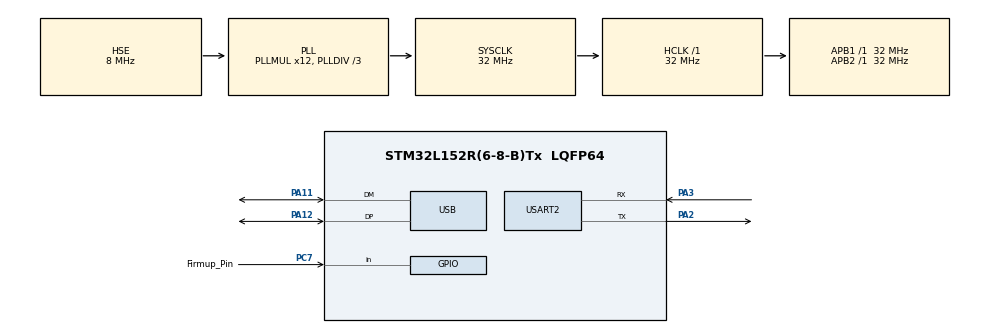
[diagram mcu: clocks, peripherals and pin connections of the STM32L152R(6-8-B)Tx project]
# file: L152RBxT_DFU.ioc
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Mcu.Family=STM32L1
Mcu.Name=STM32L152R(6-8-B)Tx
Mcu.Package=LQFP64
NVIC.PriorityGroup=NVIC_PRIORITYGROUP_4
NVIC.USART2_IRQn=true\:0\:0\:false\:false\:true\:true\:true
NVIC.USB_LP_IRQn=true\:0\:0\:false\:false\:true\:true\:true
PA11.Mode=Device
PA11.Signal=USB_DM
PA12.Mode=Device
PA12.Signal=USB_DP
PA13.Mode=Serial_Wire
PA13.Signal=SYS_JTMS-SWDIO
PA14.Mode=Serial_Wire
PA14.Signal=SYS_JTCK-SWCLK
PA2.Mode=Asynchronous
PA2.Signal=USART2_TX
PA3.Mode=Asynchronous
PA3.Signal=USART2_RX
PC7.GPIO_Label=Firmup_Pin
PC7.Signal=GPIO_Input
PH0-OSC_IN.Mode=HSE-External-Oscillator
PH0-OSC_IN.Signal=RCC_OSC_IN
PH1-OSC_OUT.Mode=HSE-External-Oscillator
PH1-OSC_OUT.Signal=RCC_OSC_OUT
ProjectManager.HeapSize=0x200
ProjectManager.StackSize=0x400
ProjectManager.TargetToolchain=STM32CubeIDE
RCC.48MHZClocksFreq_Value=48000000
RCC.AHBFreq_Value=32000000
RCC.APB1Freq_Value=32000000
RCC.APB1TimFreq_Value=32000000
RCC.APB2Freq_Value=32000000
RCC.APB2TimFreq_Value=32000000
RCC.HCLKFreq_Value=32000000
RCC.HSE_VALUE=8000000
RCC.HSI_VALUE=16000000
RCC.LSE_VALUE=32768
RCC.MSI_VALUE=2097000
RCC.PLLDIV=RCC_PLL_DIV3
RCC.PLLMUL=RCC_PLL_MUL12
RCC.SYSCLKFreq_VALUE=32000000
RCC.SYSCLKSource=RCC_SYSCLKSOURCE_PLLCLK
RCC.VCOOutputFreq_Value=96000000
USART2.VirtualMode=VM_ASYNC
USB_DEVICE.CLASS_NAME_FS=DFU
USB_DEVICE.USBD_DFU_APP_DEFAULT_ADD=0x08009000
USB_DEVICE.USBD_DFU_MEDIA=@Internal Flash   /0x08000000/9*004Ka,23*004Kg
USB_DEVICE.VirtualMode=Dfu
USB_DEVICE.VirtualModeFS=Dfu_FS
VP_USB_DEVICE_VS_USB_DEVICE_DFU_FS.Mode=DFU_FS
board=custom

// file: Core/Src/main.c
/* USER CODE BEGIN Header */
/**
  ******************************************************************************
  * @file           : main.c
  * @brief          : Main program body
  ******************************************************************************
  * @attention
  *
  * <h2><center>&copy; Copyright (c) 2021 STMicroelectronics.
  * All rights reserved.</center></h2>
  *
  * This software component is licensed by ST under BSD 3-Clause license,
  * the "License"; You may not use this file except in compliance with the
  * License. You may obtain a copy of the License at:
  *                        opensource.org/licenses/BSD-3-Clause
  *
  ******************************************************************************
  */
/* USER CODE END Header */
#include "main.h"
#include "usart.h"
#include "usb_device.h"
#include "gpio.h"

/* USER CODE BEGIN Includes */
#include "attributes.h"
#include <string.h>
/* USER CODE END Includes */

void SystemClock_Config(void);

/* USER CODE BEGIN 0 */
#if defined(__USE_PRINTF__)
#if defined(__GNUC__)
int _write(int fd, char * ptr, int len)
{
  if (fd == USART_STDOUT) HAL_UART_Transmit(&huart2, (uint8_t *) ptr, len, HAL_MAX_DELAY);
  else HAL_UART_Transmit(&huart2, (uint8_t *) ptr, len, HAL_MAX_DELAY);
  return len;
}
#elif defined (__ICCARM__)
#include "LowLevelIOInterface.h"
size_t __write(int handle, const unsigned char * buffer, size_t size)
{
  HAL_UART_Transmit(&huart1, (uint8_t *) buffer, size, HAL_MAX_DELAY);
  return size;
}
#elif defined (__CC_ARM)
int fputc(int ch, FILE *f)
{
    HAL_UART_Transmit(&huart1, (uint8_t *)&ch, 1, HAL_MAX_DELAY);
    return ch;
}
#endif	//defined(__GNUC__)
#endif	//defined(__USE_PRINTF__)
/* USER CODE END 0 */

int main(void)
{
  /* USER CODE BEGIN 1 */
	typedef  void (*pFunction)(void);
	uint32_t JumpAddress;
	void (*Jump_To_Application)(void);

	char msg[50] = {0, };
  /* USER CODE END 1 */

  /* MCU Configuration--------------------------------------------------------*/

  /* Reset of all peripherals, Initializes the Flash interface and the Systick. */
  HAL_Init();

  /* Configure the system clock */
  SystemClock_Config();

  /* Initialize all configured peripherals */
  MX_GPIO_Init();
  //MX_USB_DEVICE_Init();
  MX_USART2_UART_Init();
  /* USER CODE BEGIN 2 */
  HAL_Delay(500);
  sprintf(msg, "DFU Start!\r\n");
  HAL_UART_Transmit(&huart2, (uint8_t*)msg, strlen(msg), HAL_MAX_DELAY);
  //printf("USB_DFU Program Start!! Date[%s], Time[%s]\r\n", __DATE__, __TIME__);

	if (HAL_GPIO_ReadPin(Firmup_Pin_GPIO_Port, Firmup_Pin_Pin) != GPIO_PIN_RESET)
	{
		sprintf(msg, "USBD_DFU_APP_DEFAULT_ADD ..[%08lx]\n\r",(*(__IO uint32_t*)USBD_DFU_APP_DEFAULT_ADD));
		HAL_UART_Transmit(&huart2, (uint8_t*)msg, strlen(msg), HAL_MAX_DELAY);
		if (((*(__IO uint32_t*)USBD_DFU_APP_DEFAULT_ADD) & 0x2FFFB000 ) == 0x20000000)	//16K
		{
			JumpAddress = *(__IO uint32_t*) (USBD_DFU_APP_DEFAULT_ADD + 4);
			Jump_To_Application = (pFunction) JumpAddress;
			// Initialize user application's Stack Pointer
			__set_MSP(*(__IO uint32_t*) USBD_DFU_APP_DEFAULT_ADD);
			// Jump to user application
			Jump_To_Application();
		}
	}
	sprintf(msg,"DFU Upgrade Mode Start.. \n\r");
	HAL_UART_Transmit(&huart2, (uint8_t*)msg, strlen(msg), HAL_MAX_DELAY);
	MX_USB_DEVICE_Init();
  /* USER CODE END 2 */

  /* Infinite loop */
  while (1)
  {

  }
}

void SystemClock_Config(void)
{
  RCC_OscInitTypeDef RCC_OscInitStruct = {0};
  RCC_ClkInitTypeDef RCC_ClkInitStruct = {0};

  /** Configure the main internal regulator output voltage
  */
  __HAL_PWR_VOLTAGESCALING_CONFIG(PWR_REGULATOR_VOLTAGE_SCALE1);
  /** Initializes the RCC Oscillators according to the specified parameters
  * in the RCC_OscInitTypeDef structure.
  */
  RCC_OscInitStruct.OscillatorType = RCC_OSCILLATORTYPE_HSE;
  RCC_OscInitStruct.HSEState = RCC_HSE_ON;
  RCC_OscInitStruct.PLL.PLLState = RCC_PLL_ON;
  RCC_OscInitStruct.PLL.PLLSource = RCC_PLLSOURCE_HSE;
  RCC_OscInitStruct.PLL.PLLMUL = RCC_PLL_MUL12;
  RCC_OscInitStruct.PLL.PLLDIV = RCC_PLL_DIV3;
  if (HAL_RCC_OscConfig(&RCC_OscInitStruct) != HAL_OK)
  {
    Error_Handler();
  }
  /** Initializes the CPU, AHB and APB buses clocks
  */
  RCC_ClkInitStruct.ClockType = RCC_CLOCKTYPE_HCLK|RCC_CLOCKTYPE_SYSCLK
                              |RCC_CLOCKTYPE_PCLK1|RCC_CLOCKTYPE_PCLK2;
  RCC_ClkInitStruct.SYSCLKSource = RCC_SYSCLKSOURCE_PLLCLK;
  RCC_ClkInitStruct.AHBCLKDivider = RCC_SYSCLK_DIV1;
  RCC_ClkInitStruct.APB1CLKDivider = RCC_HCLK_DIV1;
  RCC_ClkInitStruct.APB2CLKDivider = RCC_HCLK_DIV1;

  if (HAL_RCC_ClockConfig(&RCC_ClkInitStruct, FLASH_LATENCY_1) != HAL_OK)
  {
    Error_Handler();
  }
}

void Error_Handler(void)
{
  __disable_irq();
  while (1)
  {
  }
}

/************************ (C) COPYRIGHT STMicroelectronics *****END OF FILE****/
